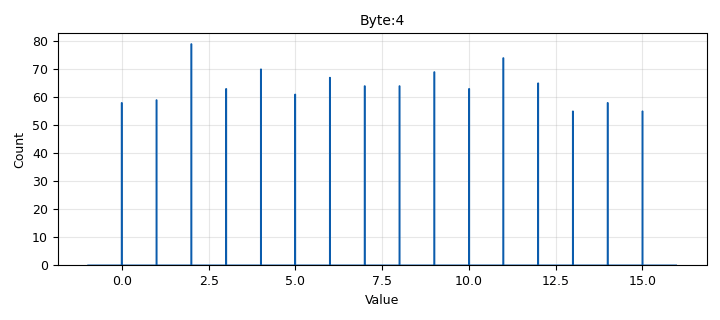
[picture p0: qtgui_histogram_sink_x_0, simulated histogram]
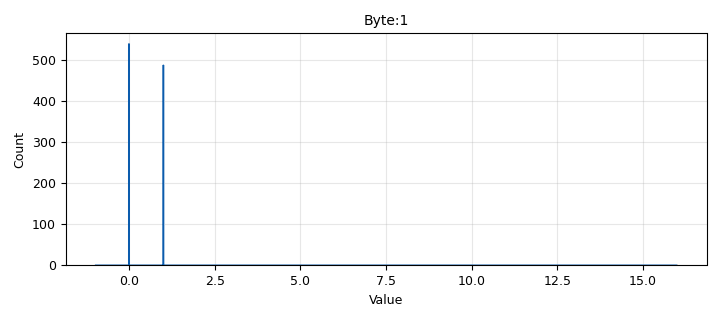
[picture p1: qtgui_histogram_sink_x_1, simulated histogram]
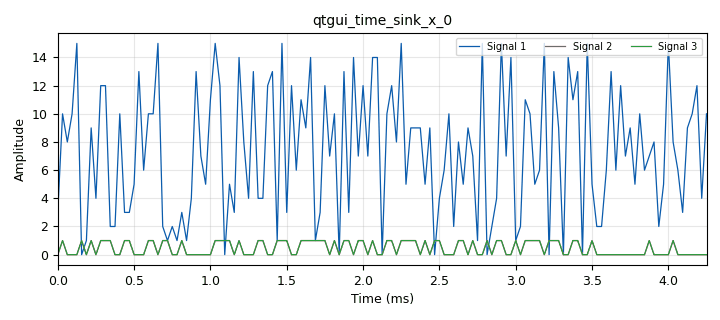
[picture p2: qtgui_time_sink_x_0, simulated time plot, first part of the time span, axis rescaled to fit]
options:
  parameters:
    author: tao
    generate_options: qt_gui
    id: course_4
    output_language: python
    title: Not titled yet
  states: {}

blocks:
- name: samp_rate
  id: variable
  parameters:
    value: '32000'
  states: {}
- name: analog_random_source_x_0
  id: analog_random_source_x
  parameters:
    max: '2'
    min: '0'
    num_samps: '10000'
    repeat: 'True'
    type: byte
  states: {}
- name: blocks_char_to_float_0
  id: blocks_char_to_float
  parameters:
    scale: '1'
  states: {}
- name: blocks_char_to_float_1
  id: blocks_char_to_float
  parameters:
    scale: '1'
  states: {}
- name: blocks_char_to_float_2
  id: blocks_char_to_float
  parameters:
    scale: '1'
  states: {}
- name: blocks_pack_k_bits_bb_0
  id: blocks_pack_k_bits_bb
  parameters:
    k: '4'
  states: {}
- name: blocks_throttle_0
  id: blocks_throttle
  parameters:
    samples_per_second: samp_rate
    type: byte
  states: {}
- name: blocks_unpack_k_bits_bb_0
  id: blocks_unpack_k_bits_bb
  parameters:
    k: '4'
  states: {}
- name: qtgui_histogram_sink_x_0
  id: qtgui_histogram_sink_x
  parameters:
    bins: '1024'
    name: '"Byte:4"'
    size: '1024'
    type: float
    xmax: '16'
    xmin: '-1'
  states: {}
- name: qtgui_histogram_sink_x_1
  id: qtgui_histogram_sink_x
  parameters:
    bins: '1024'
    name: '"Byte:1"'
    size: '1024'
    type: float
    xmax: '16'
    xmin: '-1'
  states: {}
- name: qtgui_time_sink_x_0
  id: qtgui_time_sink_x
  parameters:
    nconnections: '3'
    size: '1024'
    srate: samp_rate
    type: float
  states: {}

connections:
- [analog_random_source_x_0, '0', blocks_char_to_float_2, '0']
- [analog_random_source_x_0, '0', blocks_throttle_0, '0']
- [blocks_char_to_float_0, '0', qtgui_histogram_sink_x_0, '0']
- [blocks_char_to_float_0, '0', qtgui_time_sink_x_0, '0']
- [blocks_char_to_float_1, '0', qtgui_histogram_sink_x_1, '0']
- [blocks_char_to_float_1, '0', qtgui_time_sink_x_0, '1']
- [blocks_char_to_float_2, '0', qtgui_time_sink_x_0, '2']
- [blocks_pack_k_bits_bb_0, '0', blocks_char_to_float_0, '0']
- [blocks_pack_k_bits_bb_0, '0', blocks_unpack_k_bits_bb_0, '0']
- [blocks_throttle_0, '0', blocks_pack_k_bits_bb_0, '0']
- [blocks_unpack_k_bits_bb_0, '0', blocks_char_to_float_1, '0']

metadata:
  file_format: 1
